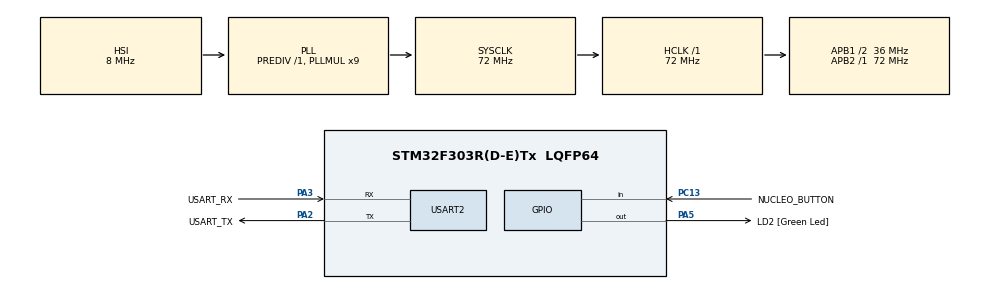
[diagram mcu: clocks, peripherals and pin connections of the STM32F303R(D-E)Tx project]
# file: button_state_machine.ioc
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Mcu.Family=STM32F3
Mcu.Name=STM32F303R(D-E)Tx
Mcu.Package=LQFP64
NVIC.PriorityGroup=NVIC_PRIORITYGROUP_0
PA13.GPIO_Label=TMS
PA13.Mode=Serial_Wire
PA13.Signal=SYS_JTMS-SWDIO
PA14.GPIO_Label=TCK
PA14.Mode=Serial_Wire
PA14.Signal=SYS_JTCK-SWCLK
PA2.GPIO_Label=USART_TX
PA2.GPIO_Mode=GPIO_MODE_AF_PP
PA2.GPIO_PuPd=GPIO_NOPULL
PA2.GPIO_Speed=GPIO_SPEED_FREQ_LOW
PA2.Mode=Asynchronous
PA2.Signal=USART2_TX
PA3.GPIO_Label=USART_RX
PA3.GPIO_Mode=GPIO_MODE_AF_PP
PA3.GPIO_PuPd=GPIO_NOPULL
PA3.GPIO_Speed=GPIO_SPEED_FREQ_LOW
PA3.Mode=Asynchronous
PA3.Signal=USART2_RX
PA5.GPIO_Label=LD2 [Green Led]
PA5.GPIO_Mode=GPIO_MODE_OUTPUT_PP
PA5.GPIO_PuPd=GPIO_NOPULL
PA5.GPIO_Speed=GPIO_SPEED_FREQ_LOW
PA5.Signal=GPIO_Output
PB3.GPIO_Label=SWO
PB3.Signal=SYS_JTDO-TRACESWO
PC13.GPIO_Label=NUCLEO_BUTTON
PC13.Signal=GPIO_Input
PC14-OSC32_IN.Mode=LSE-External-Oscillator
PC14-OSC32_IN.Signal=RCC_OSC32_IN
PC15-OSC32_OUT.Mode=LSE-External-Oscillator
PC15-OSC32_OUT.Signal=RCC_OSC32_OUT
PF0-OSC_IN.Mode=HSE-External-Clock-Source
PF0-OSC_IN.Signal=RCC_OSC_IN
PF1-OSC_OUT.Signal=RCC_OSC_OUT
ProjectManager.HeapSize=0x200
ProjectManager.StackSize=0x400
ProjectManager.TargetToolchain=STM32CubeIDE
RCC.AHBFreq_Value=72000000
RCC.APB1CLKDivider=RCC_HCLK_DIV2
RCC.APB1Freq_Value=36000000
RCC.APB1TimFreq_Value=72000000
RCC.APB2Freq_Value=72000000
RCC.APB2TimFreq_Value=72000000
RCC.CortexFreq_Value=72000000
RCC.HCLKFreq_Value=72000000
RCC.HSE_VALUE=8000000
RCC.HSI_VALUE=8000000
RCC.PLLM=8
RCC.PLLMUL=RCC_PLL_MUL9
RCC.PLLN=336
RCC.PLLP=RCC_PLLP_DIV4
RCC.PLLQ=7
RCC.RCC_PLLsource_Clock_Source_FROM_HSE=RCC_HSE_PREDIV_DIV2
RCC.SYSCLKFreq_VALUE=72000000
RCC.SYSCLKSourceVirtual=RCC_SYSCLKSOURCE_PLLCLK
RCC.USBFreq_Value=72000000
USART2.VirtualMode-Asynchronous=VM_ASYNC
board=NUCLEO-F303RE

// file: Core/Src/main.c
/* USER CODE BEGIN Header */
/**
  ******************************************************************************
  * @file           : main.c
  * @brief          : Main program body
  ******************************************************************************
  * @attention
  *
  * Copyright (c) 2023 STMicroelectronics.
  * All rights reserved.
  *
  * This software is licensed under terms that can be found in the LICENSE file
  * in the root directory of this software component.
  * If no LICENSE file comes with this software, it is provided AS-IS.
  *
  ******************************************************************************
  */
/* USER CODE END Header */
#include "main.h"
#include "usart.h"
#include "gpio.h"

/* USER CODE BEGIN Includes */
#include "button.h"
/* USER CODE END Includes */

/* USER CODE BEGIN PV */
Button_t NucleoButton;
/* USER CODE END PV */

void SystemClock_Config(void);
/* USER CODE BEGIN PFP */
void IdleTurnOffLed_f(void);
void TurnOnLed_f(void);
void TurnOffLed_f(void);
void ToggleLed_f(void);

/* USER CODE END PFP */

int main(void)
{

  /* MCU Configuration--------------------------------------------------------*/

  /* Reset of all peripherals, Initializes the Flash interface and the Systick. */
  HAL_Init();

  /* USER CODE BEGIN Init */

  //void ButtonInit (Button_t* Button, GPIO_TypeDef* GPIO_Port,uint16_t GPIO_Pin,
  //				 uint32_t TimerDebounce, uint32_t TimerLongPress, uint32_t TimerRepeat);
  ButtonInit(&NucleoButton,NUCLEO_BUTTON_GPIO_Port,NUCLEO_BUTTON_Pin, 25,1500,500);
  ButtonRegisterPressedCallback(&NucleoButton, TurnOnLed_f);
  ButtonRegisterLongPressCallback(&NucleoButton, TurnOffLed_f);
  ButtonRegisterRepeatCallback(&NucleoButton, ToggleLed_f);
  ButtonRegisterIdleCallback(&NucleoButton,IdleTurnOffLed_f);

  /* USER CODE END Init */

  /* Configure the system clock */
  SystemClock_Config();

  /* Initialize all configured peripherals */
  MX_GPIO_Init();
  MX_USART2_UART_Init();

  /* Infinite loop */
  /* USER CODE BEGIN WHILE */
  while (1)
  {
	  ButtonTask(&NucleoButton); // Machine state task for button

    /* USER CODE END WHILE */

  }
}

void SystemClock_Config(void)
{
  RCC_OscInitTypeDef RCC_OscInitStruct = {0};
  RCC_ClkInitTypeDef RCC_ClkInitStruct = {0};
  RCC_PeriphCLKInitTypeDef PeriphClkInit = {0};

  /** Initializes the RCC Oscillators according to the specified parameters
  * in the RCC_OscInitTypeDef structure.
  */
  RCC_OscInitStruct.OscillatorType = RCC_OSCILLATORTYPE_HSI;
  RCC_OscInitStruct.HSIState = RCC_HSI_ON;
  RCC_OscInitStruct.HSICalibrationValue = RCC_HSICALIBRATION_DEFAULT;
  RCC_OscInitStruct.PLL.PLLState = RCC_PLL_ON;
  RCC_OscInitStruct.PLL.PLLSource = RCC_PLLSOURCE_HSI;
  RCC_OscInitStruct.PLL.PLLMUL = RCC_PLL_MUL9;
  RCC_OscInitStruct.PLL.PREDIV = RCC_PREDIV_DIV1;
  if (HAL_RCC_OscConfig(&RCC_OscInitStruct) != HAL_OK)
  {
    Error_Handler();
  }

  /** Initializes the CPU, AHB and APB buses clocks
  */
  RCC_ClkInitStruct.ClockType = RCC_CLOCKTYPE_HCLK|RCC_CLOCKTYPE_SYSCLK
                              |RCC_CLOCKTYPE_PCLK1|RCC_CLOCKTYPE_PCLK2;
  RCC_ClkInitStruct.SYSCLKSource = RCC_SYSCLKSOURCE_PLLCLK;
  RCC_ClkInitStruct.AHBCLKDivider = RCC_SYSCLK_DIV1;
  RCC_ClkInitStruct.APB1CLKDivider = RCC_HCLK_DIV2;
  RCC_ClkInitStruct.APB2CLKDivider = RCC_HCLK_DIV1;

  if (HAL_RCC_ClockConfig(&RCC_ClkInitStruct, FLASH_LATENCY_2) != HAL_OK)
  {
    Error_Handler();
  }
  PeriphClkInit.PeriphClockSelection = RCC_PERIPHCLK_USART2;
  PeriphClkInit.Usart2ClockSelection = RCC_USART2CLKSOURCE_PCLK1;
  if (HAL_RCCEx_PeriphCLKConfig(&PeriphClkInit) != HAL_OK)
  {
    Error_Handler();
  }
}

/* USER CODE BEGIN 4 */

void IdleTurnOffLed_f(void)
{
	HAL_GPIO_WritePin(LD2_GPIO_Port, LD2_Pin, GPIO_PIN_RESET);
}

void TurnOnLed_f(void)
{
	HAL_GPIO_WritePin(LD2_GPIO_Port, LD2_Pin, GPIO_PIN_SET);
}

void TurnOffLed_f(void)
{
	HAL_GPIO_WritePin(LD2_GPIO_Port, LD2_Pin, GPIO_PIN_RESET);
}
void ToggleLed_f(void)
{
	HAL_GPIO_TogglePin(LD2_GPIO_Port, LD2_Pin);
}

/* USER CODE END 4 */

void Error_Handler(void)
{
  __disable_irq();
  while (1)
  {
  }
}
